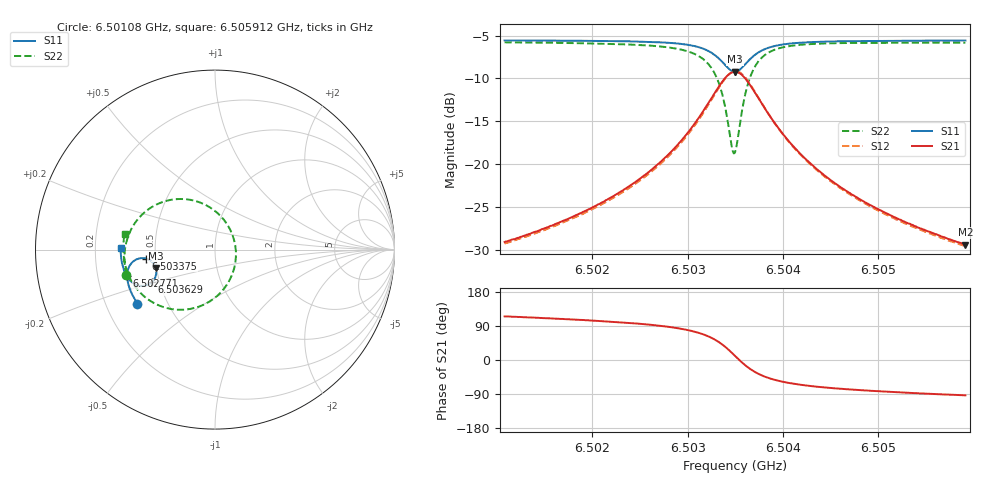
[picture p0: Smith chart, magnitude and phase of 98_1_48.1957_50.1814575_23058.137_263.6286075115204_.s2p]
#  HZ  S  RI  R  50.00
! Rohde & Schwarz Vector Network Analyzer
! Rohde-Schwarz,ZNB20-2Port,1311601062101988,3.16
! Created: UTC 3/20/2024, 11:40:22 AM
! freq[Hz]  re:S11  im:S11  re:S21  im:S21  re:S12  im:S12  re:S22  im:S22
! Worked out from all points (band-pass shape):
!   401 points, 6.50108 GHz to 6.505912 GHz, reference 50 ohm
!   highest |S21| = -9.24 dB at 6.503496 GHz (marker M1); lowest = -29.4 dB at 6.505912 GHz (marker M2)
!   |S21| within 3 dB of the highest: 6.503254 GHz to 6.503737 GHz (483.3 kHz wide, 0.00743 % of centre)
!   lowest |S11| = -9.2 dB at 6.503496 GHz (marker M3), VSWR 2.06, Z = 24.8 - j5.77 ohm
!   |S11| at or under -10 dB: nowhere
!   |S22| runs from -18.8 to -5.8 dB; largest |S21 - S12| = 0.012
!   S11 on the Smith chart (normalised r, x): 6.50108 GHz: 0.34, -0.28; 6.502771 GHz: 0.33, -0.13; 6.503375 GHz: 0.44, -0.05; 6.503629 GHz: 0.45, -0.20; 6.505912 GHz: 0.31, +0.01
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6.50108e9  -0.4321 -0.3008  -0.0148 0.0317  -0.0131 0.0316  -0.4936 -0.1412
6.5018895e9  -0.4661 -0.2398  -0.014 0.05  -0.0115 0.0495  -0.5045 -0.0527
6.5023244e9  -0.4809 -0.2004  -0.0109 0.0695  -0.00793 0.0683  -0.5 0.0112
6.5026989e9  -0.4892 -0.1578  -0.00105 0.1008  0.00263 0.0983  -0.478 0.0895
6.5027714e9  -0.4896 -0.1478  0.00305 0.1098  0.0068 0.107  -0.4692 0.1091
6.5029768e9  -0.4856 -0.1143  0.0249 0.1442  0.0286 0.1397  -0.4233 0.1771
6.5031338e9  -0.4706 -0.0821  0.0652 0.1809  0.068 0.1748  -0.3448 0.2413
6.5032788e9  -0.4318 -0.0523  0.1486 0.2097  0.1494 0.2033  -0.1925 0.2819
6.5033271e9  -0.4101 -0.0475  0.1922 0.2081  0.1922 0.2024  -0.116 0.2727
6.5033754e9  -0.3844 -0.0499  0.242 0.1924  0.2421 0.1875  -0.0307 0.2367
6.50346e9  -0.3409 -0.0799  0.3214 0.1156  0.3238 0.1112  0.0959 0.0854
6.5034963e9  -0.3298 -0.1026  0.339 0.0657  0.3427 0.0601  0.1163 -0.00852
6.5035204e9  -0.327 -0.1193  0.3423 0.0303  0.3463 0.0235  0.1133 -0.0734
6.5035567e9  -0.3294 -0.1437  0.3345 -0.0207  0.3379 -0.0299  0.0844 -0.164
6.5036291e9  -0.3521 -0.1815  0.2864 -0.098  0.2863 -0.1098  -0.0291 -0.2886
6.5037379e9  -0.3984 -0.2018  0.1976 -0.1435  0.1921 -0.1536  -0.2088 -0.3349
6.5038949e9  -0.4463 -0.1923  0.1123 -0.1392  0.1049 -0.1444  -0.3623 -0.2846
6.5040641e9  -0.4744 -0.1709  0.0661 -0.1178  0.0596 -0.1201  -0.4369 -0.2168
6.5043057e9  -0.4956 -0.1412  0.0351 -0.0919  0.0301 -0.0925  -0.4814 -0.1423
6.5046681e9  -0.5113 -0.1024  0.0155 -0.0675  0.012 -0.0671  -0.5044 -0.0661
6.5051151e9  -0.5208 -0.0603  0.00526 -0.0502  0.0029 -0.0494  -0.5107 -0.000169
6.5059125e9  -0.526 0.00782  -0.00193 -0.0337  -0.00343 -0.0329  -0.5034 0.0866
